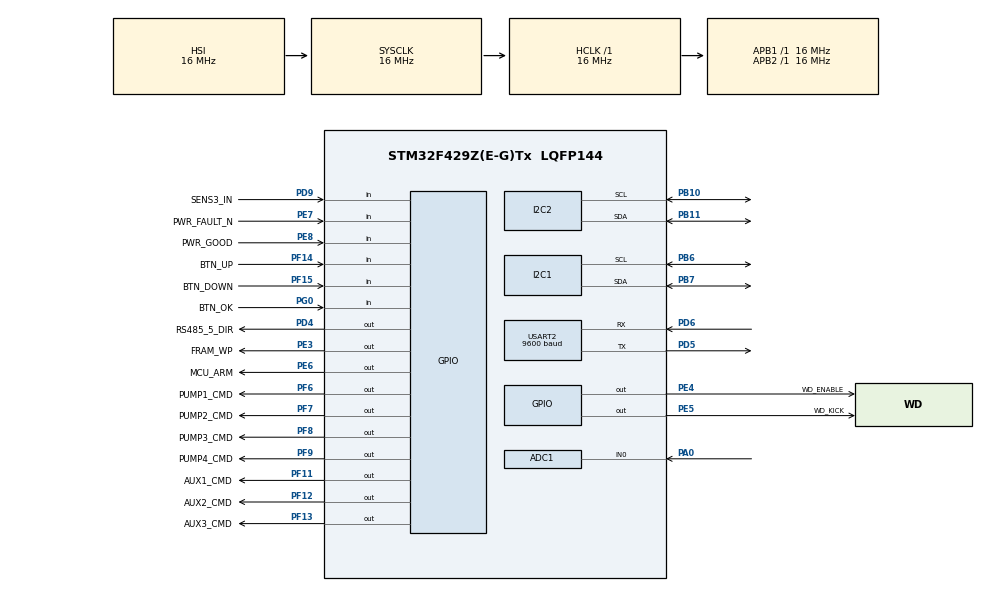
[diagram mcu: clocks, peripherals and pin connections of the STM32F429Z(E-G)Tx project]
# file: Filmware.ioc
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ADC1.Channel-1\#ChannelRegularConversion=ADC_CHANNEL_0
ADC1.ContinuousConvMode=DISABLE
ADC1.NbrOfConversion=1
ADC1.NbrOfConversionFlag=1
ADC1.Rank-1\#ChannelRegularConversion=1
ADC1.SamplingTime-1\#ChannelRegularConversion=ADC_SAMPLETIME_480CYCLES
ADC1.master=1
Mcu.Family=STM32F4
Mcu.Name=STM32F429Z(E-G)Tx
Mcu.Package=LQFP144
NVIC.PriorityGroup=NVIC_PRIORITYGROUP_4
NVIC.USART2_IRQn=true\:0\:0\:false\:false\:true\:true\:true\:true
PA0/WKUP.Signal=ADCx_IN0
PA13.Mode=Serial_Wire
PA13.Signal=SYS_JTMS-SWDIO
PA14.Mode=Serial_Wire
PA14.Signal=SYS_JTCK-SWCLK
PB10.Mode=I2C
PB10.Signal=I2C2_SCL
PB11.Mode=I2C
PB11.Signal=I2C2_SDA
PB6.Mode=I2C
PB6.Signal=I2C1_SCL
PB7.Mode=I2C
PB7.Signal=I2C1_SDA
PD4.GPIO_Label=RS485_5_DIR
PD4.Signal=GPIO_Output
PD5.Mode=Asynchronous
PD5.Signal=USART2_TX
PD6.Mode=Asynchronous
PD6.Signal=USART2_RX
PD9.GPIO_Label=SENS3_IN
PD9.Signal=GPIO_Input
PE3.GPIO_Label=FRAM_WP
PE3.PinState=GPIO_PIN_SET
PE3.Signal=GPIO_Output
PE4.GPIO_Label=WD_ENABLE
PE4.Signal=GPIO_Output
PE5.GPIO_Label=WD_KICK
PE5.Signal=GPIO_Output
PE6.GPIO_Label=MCU_ARM
PE6.Signal=GPIO_Output
PE7.GPIO_Label=PWR_FAULT_N
PE7.Signal=GPIO_Input
PE8.GPIO_Label=PWR_GOOD
PE8.Signal=GPIO_Input
PF11.GPIO_Label=AUX1_CMD
PF11.Signal=GPIO_Output
PF12.GPIO_Label=AUX2_CMD
PF12.Signal=GPIO_Output
PF13.GPIO_Label=AUX3_CMD
PF13.Signal=GPIO_Output
PF14.GPIO_Label=BTN_UP
PF14.Signal=GPIO_Input
PF15.GPIO_Label=BTN_DOWN
PF15.Signal=GPIO_Input
PF6.GPIO_Label=PUMP1_CMD
PF6.Signal=GPIO_Output
PF7.GPIO_Label=PUMP2_CMD
PF7.Signal=GPIO_Output
PF8.GPIO_Label=PUMP3_CMD
PF8.Signal=GPIO_Output
PF9.GPIO_Label=PUMP4_CMD
PF9.Signal=GPIO_Output
PG0.GPIO_Label=BTN_OK
PG0.Signal=GPIO_Input
ProjectManager.HeapSize=0x200
ProjectManager.StackSize=0x400
ProjectManager.TargetToolchain=STM32CubeIDE
RCC.AHBFreq_Value=16000000
RCC.APB1Freq_Value=16000000
RCC.APB2Freq_Value=16000000
RCC.CortexFreq_Value=16000000
RCC.HSE_VALUE=25000000
RCC.HSI_VALUE=16000000
RCC.LSE_VALUE=32768
RCC.SYSCLKFreq_VALUE=16000000
RCC.VCOOutputFreq_Value=192000000
SH.ADCx_IN0.0=ADC1_IN0,IN0
USART2.BaudRate=9600
USART2.VirtualMode=VM_ASYNC
board=custom

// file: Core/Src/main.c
/* USER CODE BEGIN Header */
/**
  ******************************************************************************
  * @file           : main.c
  * @brief          : Main program body
  ******************************************************************************
  * @attention
  *
  * Copyright (c) 2026 STMicroelectronics.
  * All rights reserved.
  *
  * This software is licensed under terms that can be found in the LICENSE file
  * in the root directory of this software component.
  * If no LICENSE file comes with this software, it is provided AS-IS.
  *
  ******************************************************************************
  */
/* USER CODE END Header */
#include "main.h"

/* USER CODE BEGIN Includes */

#include "buttons.h"
#include <stdio.h>
/* USER CODE END Includes */

/* USER CODE BEGIN PTD */

typedef enum
{
  WATERING_STOPPED = 0,
  WATERING_AUTO_ARMED,
  WATERING_AUTO_STARTING,
  WATERING_AUTO_RUNNING,
  WATERING_MANUAL_STARTING,
  WATERING_MANUAL_RUNNING,
  WATERING_AUX_STARTING,
  WATERING_AUX_RUNNING,
  WATERING_POWER_FAULT,
  WATERING_SOIL_FAULT,
  WATERING_SOIL_TIMEOUT,
  WATERING_FRAM_FAULT
} WateringRequest;
typedef struct
{
  uint16_t year;
  uint8_t month;
  uint8_t day;
  uint8_t hours;
  uint8_t minutes;
  uint8_t seconds;
} RtcDateTime;

typedef enum
{
  RTC_SET_IDLE = 0,
  RTC_SET_OK,
  RTC_SET_INVALID_DATE,
  RTC_SET_STOP_REQUIRED,
  RTC_SET_I2C_ERROR
} RtcSetStatus;
typedef enum
{
  SOIL_BUS_IDLE,
  SOIL_BUS_TX,
  SOIL_BUS_RX,
  SOIL_BUS_FRAME_READY,
  SOIL_BUS_ERROR
} SoilBusState;
/* USER CODE END PTD */

/* USER CODE BEGIN PD */

#define FRAM_I2C_ADDRESS (0x50U << 1)
#define FRAM_BOOT_ADDRESS 0x0000U
#define FRAM_BOOT_DATA_LENGTH 16U
#define FRAM_I2C_TIMEOUT_MS 50U
#define FRAM_SCHEDULE_MORNING_ADDR 0x0020U
#define FRAM_SCHEDULE_EVENING_ADDR 0x0028U
#define FRAM_SCHEDULE_RECORD_SIZE 8U
#define FRAM_SCHEDULE_MAGIC_0 0x48U
#define FRAM_SCHEDULE_MAGIC_1 0x53U
/* PCF8574T backpack: P0=RS, P1=RW, P2=E, P3=BL, P4..P7=D4..D7. */
#define LCD_I2C_ADDRESS (0x27U << 1)
#define LCD_COLUMNS 16U
#define LCD_PAGE_INTERVAL_MS 4000U
#define LCD_RETRY_INTERVAL_MS 5000U
#define LCD_RS 0x01U
#define LCD_ENABLE 0x04U
#define LCD_BACKLIGHT 0x08U
#define LCD_I2C_TIMEOUT_MS 20U
#define PUMP_COMMAND_PINS (PUMP1_CMD_Pin | PUMP2_CMD_Pin | PUMP3_CMD_Pin | PUMP4_CMD_Pin)
#define POWER_READY_TIMEOUT_MS 500U
#define WATCHDOG_TOGGLE_INTERVAL_MS 100U
/* Daily automatic watering schedule. */
#define AUTO_MORNING_HOUR 7U
#define AUTO_MORNING_MINUTE 0U
#define AUTO_EVENING_HOUR 19U
#define AUTO_EVENING_MINUTE 0U
#define SOIL_DEVICE_ADDRESS 1U
#define SOIL_MOISTURE_REGISTER 0x0002U
#define SOIL_POLL_MS 1000U
#define SOIL_REQUEST_TIMEOUT_MS 200U
#define SOIL_MAX_SAMPLE_AGE_MS (SOIL_POLL_MS + SOIL_REQUEST_TIMEOUT_MS)
#define SOIL_TARGET_TENTHS 550U
#define SOIL_TARGET_SAMPLES 3U
#define SOIL_DAYTIME_DRY_TENTHS 350U
#define SOIL_DAYTIME_DRY_SAMPLES 5U
#define CLIMATE_SAMPLE_MS 100U
#define CLIMATE_TRIGGER_SAMPLES 50U
/* Enable only after fitting the divider for the Ropam 0–10 V output. */
#define AIR_RH_ENABLED 0U
#define AIR_RH_ADC_AT_10V 3002U
#define AIR_RH_ADC_MARGIN 150U
#define AIR_RH_LOW_PERCENT 40U
#define DAYTIME_WATERING_COOLDOWN_MS (30UL * 60UL * 1000UL)
#define AUTO_MAX_RUN_MS 60000U
#define DS3231_I2C_ADDRESS (0x68U << 1)
#define DS3231_CLOCK_REGISTER 0x00U
#define DS3231_STATUS_REGISTER 0x0FU
#define DS3231_STATUS_OSF 0x80U
#define DS3231_STATUS_EN32KHZ 0x08U
#define DS3231_STATUS_ALARM_FLAGS 0x03U
#define DS3231_I2C_TIMEOUT_MS 50U
#define AUX_COMMAND_PINS (AUX1_CMD_Pin | AUX2_CMD_Pin | AUX3_CMD_Pin)
#define AUX_DEMO_PHASE_MS 5000U
/* USER CODE END PD */

ADC_HandleTypeDef hadc1;

I2C_HandleTypeDef hi2c1;
I2C_HandleTypeDef hi2c2;

UART_HandleTypeDef huart2;

/* USER CODE BEGIN PV */
static volatile HAL_StatusTypeDef rtc_probe_status = HAL_ERROR;
static volatile HAL_StatusTypeDef fram_probe_status = HAL_ERROR;
static uint32_t rtc_last_poll_ms;
static volatile HAL_StatusTypeDef rtc_read_status = HAL_ERROR;
static volatile uint8_t rtc_hours;
static volatile uint8_t rtc_minutes;
static volatile uint8_t rtc_seconds;
static volatile uint16_t rtc_year;
static volatile uint8_t rtc_month;
static volatile uint8_t rtc_day;
static volatile uint8_t rtc_time_valid;
static volatile HAL_StatusTypeDef fram_boot_read_status = HAL_ERROR;
static volatile uint8_t fram_boot_data[FRAM_BOOT_DATA_LENGTH];
static volatile uint8_t last_button_press;
extern I2C_HandleTypeDef hi2c2;
static volatile HAL_StatusTypeDef lcd_status = HAL_ERROR;
static uint32_t lcd_page_changed_ms;
static uint32_t lcd_last_init_ms;
static uint8_t lcd_sensor_page;
static volatile WateringRequest watering_request = WATERING_STOPPED;
static uint32_t watering_start_ms;
static uint32_t watchdog_toggle_ms;
static uint32_t auto_running_since_ms;
static uint32_t auto_last_morning_date;
static uint32_t auto_last_evening_date;
static uint8_t fram_schedule_loaded;
static volatile HAL_StatusTypeDef fram_schedule_status = HAL_ERROR;
extern ADC_HandleTypeDef hadc1;
extern UART_HandleTypeDef huart2;
static uint32_t soil_last_request_ms;
static uint32_t soil_last_valid_ms;
static volatile SoilBusState soil_bus_state;
static uint8_t soil_request[8];
static uint8_t soil_response[7];
static volatile uint16_t soil_moisture_tenths;
static uint32_t climate_last_sample_ms;
static uint8_t temperature_hot_samples;
static volatile uint8_t temperature_hot;
static uint8_t air_rh_low_samples;
static volatile uint16_t air_rh_adc_raw;
static volatile uint8_t air_rh_percent;
static volatile uint8_t air_rh_valid;
static volatile uint8_t soil_valid;
static uint8_t soil_target_samples;
static uint8_t soil_dry_samples;
static uint32_t last_watering_stop_ms;
static uint8_t daytime_cooldown_active;
/* Fill the value in the debugger, then set the request to 1. */
static volatile RtcDateTime rtc_set_value;
static volatile uint8_t rtc_set_request;
static volatile RtcSetStatus rtc_set_status = RTC_SET_IDLE;
static uint8_t rtc_write_incomplete;
/* Set to 1 in the debugger while stopped to start the AUX showcase. */
static volatile uint8_t aux_demo_request;
static volatile uint8_t aux_demo_on;
static uint32_t aux_demo_phase_ms;
/* USER CODE END PV */

void SystemClock_Config(void);
static void MX_GPIO_Init(void);
static void MX_I2C1_Init(void);
static void MX_I2C2_Init(void);
static void MX_ADC1_Init(void);
static void MX_USART2_UART_Init(void);

/* USER CODE BEGIN 0 */
static uint8_t Rtc_DecodeBcd(uint8_t value, uint8_t min, uint8_t max,
                             uint8_t *decoded)
{
  const uint8_t tens = value >> 4;
  const uint8_t units = value & 0x0FU;
  const uint8_t number = (uint8_t)(tens * 10U + units);

  if (tens > 9U || units > 9U || number < min || number > max)
  {
    return 0U;
  }

  *decoded = number;
  return 1U;
}

static uint8_t Rtc_DaysInMonth(uint16_t year, uint8_t month)
{
  static const uint8_t days[] = {31U, 28U, 31U, 30U, 31U, 30U,
                                 31U, 31U, 30U, 31U, 30U, 31U};
  if (month == 2U && year % 4U == 0U &&
      (year % 100U != 0U || year % 400U == 0U))
  {
    return 29U;
  }

  return days[month - 1U];
}

static void Rtc_ReadTime(void)
{
  uint8_t registers[16];
  rtc_time_valid = 0U;

  /* Read a snapshot of time, date and the oscillator-stop flag. */
  rtc_read_status = HAL_I2C_Mem_Read(
      &hi2c1, DS3231_I2C_ADDRESS, DS3231_CLOCK_REGISTER, I2C_MEMADD_SIZE_8BIT,
      registers, sizeof(registers), DS3231_I2C_TIMEOUT_MS);

  if (rtc_read_status != HAL_OK ||
      (registers[DS3231_STATUS_REGISTER] & DS3231_STATUS_OSF) != 0U ||
      rtc_write_incomplete != 0U)
  {
    return;
  }

  uint8_t seconds, minutes, hours, day, month, year_in_century;
  if (!Rtc_DecodeBcd(registers[0] & 0x7FU, 0U, 59U, &seconds) ||
      !Rtc_DecodeBcd(registers[1] & 0x7FU, 0U, 59U, &minutes) ||
      !Rtc_DecodeBcd(registers[4] & 0x3FU, 1U, 31U, &day) ||
      !Rtc_DecodeBcd(registers[5] & 0x1FU, 1U, 12U, &month) ||
      !Rtc_DecodeBcd(registers[6], 0U, 99U, &year_in_century))
  {
    return;
  }

  const uint8_t hours_register = registers[2];
  if ((hours_register & 0x40U) != 0U)
  {
    uint8_t hours_12;
    if (!Rtc_DecodeBcd(hours_register & 0x1FU, 1U, 12U, &hours_12))
    {
      return;
    }
    const uint8_t pm_offset = (hours_register & 0x20U) != 0U ? 12U : 0U;
    hours = (uint8_t)((hours_12 % 12U) + pm_offset);
  }
  else if (!Rtc_DecodeBcd(hours_register & 0x3FU, 0U, 23U, &hours))
  {
    return;
  }

  const uint16_t base_year = (registers[5] & 0x80U) != 0U ? 2100U : 2000U;
  const uint16_t year = base_year + year_in_century;
  if (day > Rtc_DaysInMonth(year, month))
  {
    return;
  }

  rtc_year = year;
  rtc_month = month;
  rtc_day = day;
  rtc_hours = hours;
  rtc_minutes = minutes;
  rtc_seconds = seconds;
  rtc_time_valid = 1U;
}

static uint8_t Rtc_ToBcd(uint8_t value)
{
  return (uint8_t)(((value / 10U) << 4) | (value % 10U));
}

static uint8_t Rtc_DayOfWeek(uint16_t year, uint8_t month, uint8_t day)
{
  static const uint8_t offsets[] = {0U, 3U, 2U, 5U, 0U, 3U,
                                    5U, 1U, 4U, 6U, 2U, 4U};
  const uint32_t adjusted_year = month < 3U ? year - 1U : year;
  const uint8_t weekday = (uint8_t)((adjusted_year + adjusted_year / 4U -
      adjusted_year / 100U + adjusted_year / 400U + offsets[month - 1U] + day) % 7U);
  return weekday == 0U ? 7U : weekday;
}

static void Rtc_ServiceSetRequest(void)
{
  if (rtc_set_request == 0U)
  {
    return;
  }

  const RtcDateTime value = rtc_set_value;
  rtc_set_request = 0U;

  if (watering_request != WATERING_STOPPED)
  {
    rtc_set_status = RTC_SET_STOP_REQUIRED;
    return;
  }

  if (value.year < 2000U || value.year > 2099U || value.month < 1U ||
      value.month > 12U || value.day < 1U ||
      value.day > Rtc_DaysInMonth(value.year, value.month) ||
      value.hours > 23U || value.minutes > 59U || value.seconds > 59U)
  {
    rtc_set_status = RTC_SET_INVALID_DATE;
    return;
  }

  uint8_t clock_registers[] = {
    Rtc_ToBcd(value.seconds),
    Rtc_ToBcd(value.minutes),
    Rtc_ToBcd(value.hours),
    Rtc_DayOfWeek(value.year, value.month, value.day),
    Rtc_ToBcd(value.day),
    Rtc_ToBcd(value.month),
    Rtc_ToBcd((uint8_t)(value.year - 2000U))
  };

  rtc_time_valid = 0U;
  rtc_write_incomplete = 1U;
  rtc_set_status = RTC_SET_I2C_ERROR;
  if (HAL_I2C_Mem_Write(&hi2c1, DS3231_I2C_ADDRESS, DS3231_CLOCK_REGISTER,
                        I2C_MEMADD_SIZE_8BIT, clock_registers,
                        sizeof(clock_registers), DS3231_I2C_TIMEOUT_MS) != HAL_OK)
  {
    return;
  }

  uint8_t status_register;
  if (HAL_I2C_Mem_Read(&hi2c1, DS3231_I2C_ADDRESS, DS3231_STATUS_REGISTER,
                       I2C_MEMADD_SIZE_8BIT, &status_register, 1U,
                       DS3231_I2C_TIMEOUT_MS) != HAL_OK)
  {
    return;
  }

  /* Clear OSF, preserve EN32kHz and leave both write-zero alarm flags alone. */
  status_register = (status_register & DS3231_STATUS_EN32KHZ) |
                    DS3231_STATUS_ALARM_FLAGS;
  if (HAL_I2C_Mem_Write(&hi2c1, DS3231_I2C_ADDRESS, DS3231_STATUS_REGISTER,
                        I2C_MEMADD_SIZE_8BIT, &status_register, 1U,
                        DS3231_I2C_TIMEOUT_MS) == HAL_OK)
  {
    rtc_write_incomplete = 0U;
    Rtc_ReadTime();
    if (rtc_time_valid != 0U)
    {
      rtc_set_status = RTC_SET_OK;
    }
    else
    {
      rtc_write_incomplete = 1U;
    }
  }
}

static void Fram_ReadBootData(void)
{
  uint8_t data[FRAM_BOOT_DATA_LENGTH];
  const HAL_StatusTypeDef status = HAL_I2C_Mem_Read(
      &hi2c1, FRAM_I2C_ADDRESS, FRAM_BOOT_ADDRESS, I2C_MEMADD_SIZE_16BIT,
      data, sizeof(data), FRAM_I2C_TIMEOUT_MS);

  if (status == HAL_OK)
  {
    for (uint32_t i = 0; i < sizeof(data); ++i)
    {
      fram_boot_data[i] = data[i];
    }
  }

  fram_boot_read_status = status;
}

static void Lcd_EncodeNibble(uint8_t *output, uint8_t nibble, uint8_t flags)
{
  const uint8_t data = (uint8_t)((nibble & 0x0FU) << 4) | LCD_BACKLIGHT | flags;
  output[0] = data;
  output[1] = data | LCD_ENABLE;
  output[2] = data;
}

static HAL_StatusTypeDef Lcd_WriteNibble(uint8_t nibble)
{
  uint8_t packet[3];
  Lcd_EncodeNibble(packet, nibble, 0U);
  return HAL_I2C_Master_Transmit(&hi2c2, LCD_I2C_ADDRESS,
                                 packet, sizeof(packet), LCD_I2C_TIMEOUT_MS);
}

static HAL_StatusTypeDef Lcd_WriteByte(uint8_t value, uint8_t flags)
{
  uint8_t packet[6];
  Lcd_EncodeNibble(&packet[0], value >> 4, flags);
  Lcd_EncodeNibble(&packet[3], value, flags);
  return HAL_I2C_Master_Transmit(&hi2c2, LCD_I2C_ADDRESS,
                                 packet, sizeof(packet), LCD_I2C_TIMEOUT_MS);
}

static HAL_StatusTypeDef Lcd_WriteLine(uint8_t row, const char *text)
{
  HAL_StatusTypeDef status = Lcd_WriteByte(row == 0U ? 0x80U : 0xC0U, 0U);
  for (uint8_t column = 0; column < LCD_COLUMNS && status == HAL_OK; ++column)
  {
    const uint8_t character = *text != '\0' ? (uint8_t)*text++ : (uint8_t)' ';
    status = Lcd_WriteByte(character, LCD_RS);
  }
  return status;
}

static HAL_StatusTypeDef Lcd_Init(void)
{
  static const uint8_t reset_nibbles[] = {0x03U, 0x03U, 0x03U, 0x02U};
  static const uint8_t commands[] = {0x28U, 0x08U, 0x01U, 0x06U, 0x0CU};

  HAL_Delay(50U);
  HAL_StatusTypeDef status = HAL_I2C_IsDeviceReady(&hi2c2, LCD_I2C_ADDRESS,
                                                     2U, LCD_I2C_TIMEOUT_MS);
  for (uint8_t i = 0; i < sizeof(reset_nibbles) && status == HAL_OK; ++i)
  {
    status = Lcd_WriteNibble(reset_nibbles[i]);
    HAL_Delay(i == 0U ? 5U : 1U);
  }

  for (uint8_t i = 0; i < sizeof(commands) && status == HAL_OK; ++i)
  {
    status = Lcd_WriteByte(commands[i], 0U);
    if (commands[i] == 0x01U)
    {
      HAL_Delay(2U);
    }
  }
  return status;
}

static void Lcd_ShowTime(void)
{
  if (lcd_status != HAL_OK)
  {
    return;
  }

  if (rtc_read_status != HAL_OK)
  {
    lcd_status = Lcd_WriteLine(1U, "RTC offline");
  }
  else if (rtc_time_valid == 0U)
  {
    lcd_status = Lcd_WriteLine(1U, "RTC invalid");
  }
  else
  {
    /* Five uint8_t values can take up to three digits each.
       Reserve space for four separators and the null terminator. */
    char line[20];
    snprintf(line, sizeof(line), "%02u/%02u %02u:%02u:%02u",
             (unsigned)rtc_day, (unsigned)rtc_month, (unsigned)rtc_hours,
             (unsigned)rtc_minutes, (unsigned)rtc_seconds);
    lcd_status = Lcd_WriteLine(1U, line);
  }
}

static void Lcd_FormatSensorPercent(char field[5], uint8_t valid,
                                    uint16_t percent)
{
  if (!valid || percent > 100U)
  {
    field[0] = '-';
    field[1] = '-';
    field[2] = '-';
    field[3] = ' ';
  }
  else
  {
    field[0] = percent >= 100U ? '1' : ' ';
    field[1] = percent >= 10U ? (char)('0' + (percent / 10U) % 10U) : ' ';
    field[2] = (char)('0' + percent % 10U);
    field[3] = '%';
  }
  field[4] = '\0';
}

static void Lcd_ShowDashboard(uint32_t now)
{
  if (lcd_status != HAL_OK)
  {
    return;
  }
  if ((now - lcd_page_changed_ms) >= LCD_PAGE_INTERVAL_MS)
  {
    lcd_page_changed_ms = now;
    lcd_sensor_page ^= 1U;
  }
  if (!lcd_sensor_page)
  {
    Lcd_ShowTime();
    return;
  }

  char soil[5];
  char air[5];
  char line[24];
  Lcd_FormatSensorPercent(soil, soil_valid, soil_moisture_tenths / 10U);
  Lcd_FormatSensorPercent(air, air_rh_valid, air_rh_percent);
  snprintf(line, sizeof(line), "S%s H%s %s", soil, air,
           temperature_hot ? "HOT" : " - ");
  lcd_status = Lcd_WriteLine(1U, line);
}

static uint16_t Modbus_Crc(const uint8_t *data, uint8_t length)
{
  uint16_t crc = 0xFFFFU;
  for (uint8_t i = 0; i < length; ++i)
  {
    crc ^= data[i];
    for (uint8_t bit = 0; bit < 8U; ++bit)
    {
      const uint16_t polynomial = (crc & 1U) != 0U ? 0xA001U : 0U;
      crc = (uint16_t)((crc >> 1) ^ polynomial);
    }
  }
  return crc;
}

static uint32_t Fram_DecodeScheduleDate(const uint8_t *record)
{
  const uint16_t stored_crc = (uint16_t)record[6] | ((uint16_t)record[7] << 8);
  if (record[0] != FRAM_SCHEDULE_MAGIC_0 || record[1] != FRAM_SCHEDULE_MAGIC_1 ||
      Modbus_Crc(record, 6U) != stored_crc)
  {
    return 0U;
  }

  const uint32_t date = ((uint32_t)record[2] << 24) |
                        ((uint32_t)record[3] << 16) |
                        ((uint32_t)record[4] << 8) | record[5];
  return (date >= 20000101U && date <= 21991231U) ? date : 0U;
}

static uint8_t Fram_LoadScheduleHistory(void)
{
  uint8_t records[2U * FRAM_SCHEDULE_RECORD_SIZE];
  fram_schedule_status = HAL_I2C_Mem_Read(
      &hi2c1, FRAM_I2C_ADDRESS, FRAM_SCHEDULE_MORNING_ADDR, I2C_MEMADD_SIZE_16BIT,
      records, sizeof(records), FRAM_I2C_TIMEOUT_MS);
  if (fram_schedule_status != HAL_OK)
  {
    return 0U;
  }

  auto_last_morning_date = Fram_DecodeScheduleDate(records);
  auto_last_evening_date = Fram_DecodeScheduleDate(&records[FRAM_SCHEDULE_RECORD_SIZE]);
  fram_schedule_loaded = 1U;
  return 1U;
}

static uint8_t Fram_SaveScheduleDate(uint16_t address, uint32_t date)
{
  uint8_t record[FRAM_SCHEDULE_RECORD_SIZE] = {
    FRAM_SCHEDULE_MAGIC_0, FRAM_SCHEDULE_MAGIC_1,
    (uint8_t)(date >> 24), (uint8_t)(date >> 16), (uint8_t)(date >> 8), (uint8_t)date
  };
  const uint16_t crc = Modbus_Crc(record, 6U);
  record[6] = (uint8_t)crc;
  record[7] = (uint8_t)(crc >> 8);

  HAL_GPIO_WritePin(FRAM_WP_GPIO_Port, FRAM_WP_Pin, GPIO_PIN_RESET);
  fram_schedule_status = HAL_I2C_Mem_Write(
      &hi2c1, FRAM_I2C_ADDRESS, address, I2C_MEMADD_SIZE_16BIT,
      record, sizeof(record), FRAM_I2C_TIMEOUT_MS);
  HAL_GPIO_WritePin(FRAM_WP_GPIO_Port, FRAM_WP_Pin, GPIO_PIN_SET);
  if (fram_schedule_status != HAL_OK)
  {
    return 0U;
  }

  fram_schedule_status = HAL_I2C_Mem_Read(
      &hi2c1, FRAM_I2C_ADDRESS, address, I2C_MEMADD_SIZE_16BIT,
      record, sizeof(record), FRAM_I2C_TIMEOUT_MS);
  if (fram_schedule_status == HAL_OK && Fram_DecodeScheduleDate(record) != date)
  {
    fram_schedule_status = HAL_ERROR;
  }
  return fram_schedule_status == HAL_OK;
}

static void Soil_Invalidate(void)
{
  soil_valid = 0U;
  soil_target_samples = 0U;
  soil_dry_samples = 0U;
}

static void Soil_AcceptResponse(uint32_t now)
{
  const uint16_t crc = (uint16_t)soil_response[5] |
                       ((uint16_t)soil_response[6] << 8);
  const uint16_t moisture = ((uint16_t)soil_response[3] << 8) | soil_response[4];

  if (soil_response[0] != SOIL_DEVICE_ADDRESS || soil_response[1] != 0x03U ||
      soil_response[2] != 2U || Modbus_Crc(soil_response, 5U) != crc ||
      moisture > 1000U)
  {
    Soil_Invalidate();
    return;
  }

  soil_moisture_tenths = moisture;
  soil_last_valid_ms = now;
  soil_valid = 1U;
  if (moisture < SOIL_TARGET_TENTHS)
  {
    soil_target_samples = 0U;
  }
  else if (soil_target_samples < SOIL_TARGET_SAMPLES)
  {
    ++soil_target_samples;
  }

  if (moisture > SOIL_DAYTIME_DRY_TENTHS)
  {
    soil_dry_samples = 0U;
  }
  else if (soil_dry_samples < SOIL_DAYTIME_DRY_SAMPLES)
  {
    ++soil_dry_samples;
  }
}

static void Soil_Update(uint32_t now)
{
  const SoilBusState state = soil_bus_state;
  if (state == SOIL_BUS_FRAME_READY)
  {
    if ((now - soil_last_request_ms) < SOIL_REQUEST_TIMEOUT_MS)
    {
      Soil_AcceptResponse(now);
    }
    else
    {
      Soil_Invalidate();
    }
    soil_bus_state = SOIL_BUS_IDLE;
  }
  else if (state == SOIL_BUS_ERROR ||
           (state != SOIL_BUS_IDLE &&
            (now - soil_last_request_ms) >= SOIL_REQUEST_TIMEOUT_MS))
  {
    soil_bus_state = SOIL_BUS_IDLE;
    HAL_GPIO_WritePin(RS485_5_DIR_GPIO_Port, RS485_5_DIR_Pin, GPIO_PIN_RESET);
    HAL_UART_Abort(&huart2);
    Soil_Invalidate();
  }

  if (soil_valid && (now - soil_last_valid_ms) >= SOIL_MAX_SAMPLE_AGE_MS)
  {
    Soil_Invalidate();
  }

  if (soil_bus_state != SOIL_BUS_IDLE || (now - soil_last_request_ms) < SOIL_POLL_MS)
  {
    return;
  }

  soil_request[0] = SOIL_DEVICE_ADDRESS;
  soil_request[1] = 0x03U;
  soil_request[2] = (uint8_t)(SOIL_MOISTURE_REGISTER >> 8);
  soil_request[3] = (uint8_t)SOIL_MOISTURE_REGISTER;
  soil_request[4] = 0U;
  soil_request[5] = 1U;
  const uint16_t crc = Modbus_Crc(soil_request, 6U);
  soil_request[6] = (uint8_t)crc;
  soil_request[7] = (uint8_t)(crc >> 8);

  soil_last_request_ms = now;
  soil_bus_state = SOIL_BUS_TX;
  HAL_GPIO_WritePin(RS485_5_DIR_GPIO_Port, RS485_5_DIR_Pin, GPIO_PIN_SET);
  if (HAL_UART_Transmit_IT(&huart2, soil_request, sizeof(soil_request)) != HAL_OK)
  {
    HAL_GPIO_WritePin(RS485_5_DIR_GPIO_Port, RS485_5_DIR_Pin, GPIO_PIN_RESET);
    soil_bus_state = SOIL_BUS_ERROR;
  }
}

void HAL_UART_TxCpltCallback(UART_HandleTypeDef *uart)
{
  if (uart != &huart2 || soil_bus_state != SOIL_BUS_TX)
  {
    return;
  }

  HAL_GPIO_WritePin(RS485_5_DIR_GPIO_Port, RS485_5_DIR_Pin, GPIO_PIN_RESET);
  soil_bus_state = SOIL_BUS_RX;
  if (HAL_UART_Receive_IT(uart, soil_response, sizeof(soil_response)) != HAL_OK)
  {
    soil_bus_state = SOIL_BUS_ERROR;
  }
}

void HAL_UART_RxCpltCallback(UART_HandleTypeDef *uart)
{
  if (uart == &huart2 && soil_bus_state == SOIL_BUS_RX)
  {
    soil_bus_state = SOIL_BUS_FRAME_READY;
  }
}

void HAL_UART_ErrorCallback(UART_HandleTypeDef *uart)
{
  if (uart == &huart2 && soil_bus_state != SOIL_BUS_IDLE)
  {
    HAL_GPIO_WritePin(RS485_5_DIR_GPIO_Port, RS485_5_DIR_Pin, GPIO_PIN_RESET);
    soil_bus_state = SOIL_BUS_ERROR;
  }
}

static void Climate_Update(uint32_t now)
{
  if ((now - climate_last_sample_ms) < CLIMATE_SAMPLE_MS)
  {
    return;
  }
  climate_last_sample_ms = now;

  /* The KSD9700 NO contact pulls the externally biased input low. */
  if (HAL_GPIO_ReadPin(SENS3_IN_GPIO_Port, SENS3_IN_Pin) != GPIO_PIN_RESET)
  {
    temperature_hot_samples = 0U;
  }
  else if (temperature_hot_samples < CLIMATE_TRIGGER_SAMPLES)
  {
    ++temperature_hot_samples;
  }
  temperature_hot = temperature_hot_samples >= CLIMATE_TRIGGER_SAMPLES;

  if (AIR_RH_ENABLED == 0U)
  {
    return;
  }

  air_rh_valid = 0U;
  if (HAL_ADC_Start(&hadc1) == HAL_OK)
  {
    if (HAL_ADC_PollForConversion(&hadc1, 1U) == HAL_OK)
    {
      air_rh_adc_raw = (uint16_t)HAL_ADC_GetValue(&hadc1);
      if (air_rh_adc_raw > 0U && air_rh_adc_raw <= AIR_RH_ADC_AT_10V + AIR_RH_ADC_MARGIN)
      {
        const uint32_t percent =
            ((uint32_t)air_rh_adc_raw * 100U + AIR_RH_ADC_AT_10V / 2U) /
            AIR_RH_ADC_AT_10V;
        air_rh_percent = (uint8_t)(percent > 100U ? 100U : percent);
        air_rh_valid = 1U;
      }
    }
    if (HAL_ADC_Stop(&hadc1) != HAL_OK)
    {
      air_rh_valid = 0U;
    }
  }

  if (!air_rh_valid || air_rh_percent > AIR_RH_LOW_PERCENT)
  {
    air_rh_low_samples = 0U;
  }
  else if (air_rh_low_samples < CLIMATE_TRIGGER_SAMPLES)
  {
    ++air_rh_low_samples;
  }
}

static void Lcd_ShowWateringRequest(void)
{
  if (lcd_status != HAL_OK)
  {
    return;
  }

  switch (watering_request)
  {
    case WATERING_AUTO_ARMED:
      lcd_status = Lcd_WriteLine(0U, "AUTO: waiting");
      break;
    case WATERING_AUTO_STARTING:
    case WATERING_AUTO_RUNNING:
      lcd_status = Lcd_WriteLine(0U, "AUTO: watering");
      break;
    case WATERING_MANUAL_STARTING:
    case WATERING_MANUAL_RUNNING:
      lcd_status = Lcd_WriteLine(0U, "MANUAL: hold");
      break;
    case WATERING_AUX_STARTING:
    case WATERING_AUX_RUNNING:
      lcd_status = Lcd_WriteLine(0U, "AUX demo 5s/5s");
      break;
    case WATERING_POWER_FAULT:
      lcd_status = Lcd_WriteLine(0U, "PUMP POWER FAULT");
      break;
    case WATERING_SOIL_FAULT:
      lcd_status = Lcd_WriteLine(0U, "SOIL RS485 FAULT");
      break;
    case WATERING_SOIL_TIMEOUT:
      lcd_status = Lcd_WriteLine(0U, "SOIL TIMEOUT");
      break;
    case WATERING_FRAM_FAULT:
      lcd_status = Lcd_WriteLine(0U, "FRAM SAVE FAULT");
      break;
    default:
      lcd_status = Lcd_WriteLine(0U, "Helios: STOPPED");
      break;
  }
}

static void Lcd_ServiceDashboard(uint32_t now)
{
  if (lcd_status != HAL_OK &&
      (now - lcd_last_init_ms) >= LCD_RETRY_INTERVAL_MS)
  {
    lcd_last_init_ms = now;
    lcd_status = Lcd_Init();
    if (lcd_status == HAL_OK)
    {
      lcd_sensor_page = 0U;
      lcd_page_changed_ms = now;
      Lcd_ShowWateringRequest();
    }
  }
  Lcd_ShowDashboard(now);
}

static uint8_t Watering_IsManual(void)
{
  return watering_request == WATERING_MANUAL_STARTING ||
         watering_request == WATERING_MANUAL_RUNNING;
}

static uint8_t Watering_IsAuxDemo(void)
{
  return watering_request == WATERING_AUX_STARTING ||
         watering_request == WATERING_AUX_RUNNING;
}

static uint8_t Watering_IsActive(void)
{
  return Watering_IsManual() || Watering_IsAuxDemo() ||
         watering_request == WATERING_AUTO_STARTING ||
         watering_request == WATERING_AUTO_RUNNING;
}

static uint8_t Watering_StopHeld(void)
{
  return HAL_GPIO_ReadPin(BTN_DOWN_GPIO_Port, BTN_DOWN_Pin) == GPIO_PIN_RESET;
}

static uint8_t Watering_ManualHeld(void)
{
  return HAL_GPIO_ReadPin(BTN_OK_GPIO_Port, BTN_OK_Pin) == GPIO_PIN_RESET;
}

static void Watering_Stop(WateringRequest next_state)
{
  HAL_GPIO_WritePin(MCU_ARM_GPIO_Port, MCU_ARM_Pin, GPIO_PIN_RESET);
  HAL_GPIO_WritePin(GPIOF, PUMP_COMMAND_PINS | AUX_COMMAND_PINS, GPIO_PIN_RESET);
  aux_demo_on = 0U;
  HAL_GPIO_WritePin(WD_ENABLE_GPIO_Port, WD_ENABLE_Pin, GPIO_PIN_RESET);
  HAL_GPIO_WritePin(WD_KICK_GPIO_Port, WD_KICK_Pin, GPIO_PIN_RESET);

  if (watering_request == WATERING_MANUAL_RUNNING ||
      watering_request == WATERING_AUTO_RUNNING)
  {
    last_watering_stop_ms = HAL_GetTick();
    daytime_cooldown_active = 1U;
    soil_dry_samples = 0U;
  }

  watering_request = next_state;
  Lcd_ShowWateringRequest();
}

static uint8_t Watering_StartPower(WateringRequest starting_state)
{
  watering_request = starting_state;
  /* Finish the blocking LCD write before enabling pump power. */
  Lcd_ShowWateringRequest();

  if (Watering_StopHeld() || (Watering_IsManual() && !Watering_ManualHeld()))
  {
    Watering_Stop(WATERING_STOPPED);
    return 0U;
  }

  HAL_GPIO_WritePin(WD_KICK_GPIO_Port, WD_KICK_Pin, GPIO_PIN_SET);
  HAL_GPIO_WritePin(WD_ENABLE_GPIO_Port, WD_ENABLE_Pin, GPIO_PIN_SET);
  watering_start_ms = HAL_GetTick();
  watchdog_toggle_ms = watering_start_ms;
  HAL_GPIO_WritePin(MCU_ARM_GPIO_Port, MCU_ARM_Pin, GPIO_PIN_SET);
  return 1U;
}

static void Watering_Service(uint8_t pressed, uint32_t now)
{
  const uint8_t start_aux_demo = aux_demo_request;
  if (start_aux_demo != 0U)
  {
    aux_demo_request = 0U;
  }

  if (Watering_StopHeld() || (pressed & BUTTON_DOWN) != 0U)
  {
    if (watering_request != WATERING_STOPPED)
    {
      Watering_Stop(WATERING_STOPPED);
    }
    return;
  }

  if (Watering_IsActive())
  {
    const uint8_t manual = Watering_IsManual();
    const uint8_t aux_demo = Watering_IsAuxDemo();
    if (manual && !Watering_ManualHeld())
    {
      Watering_Stop(WATERING_STOPPED);
      return;
    }

    if (!manual && !aux_demo)
    {
      if (!soil_valid)
      {
        Watering_Stop(WATERING_SOIL_FAULT);
        return;
      }
      if (soil_target_samples >= SOIL_TARGET_SAMPLES)
      {
        Watering_Stop(WATERING_AUTO_ARMED);
        return;
      }
      if (watering_request == WATERING_AUTO_RUNNING &&
          (now - auto_running_since_ms) >= AUTO_MAX_RUN_MS)
      {
        Watering_Stop(WATERING_SOIL_TIMEOUT);
        return;
      }
    }

    const uint8_t power_ok =
        HAL_GPIO_ReadPin(PWR_GOOD_GPIO_Port, PWR_GOOD_Pin) == GPIO_PIN_SET &&
        HAL_GPIO_ReadPin(PWR_FAULT_N_GPIO_Port, PWR_FAULT_N_Pin) == GPIO_PIN_SET;
    if (watering_request == WATERING_MANUAL_STARTING ||
        watering_request == WATERING_AUTO_STARTING ||
        watering_request == WATERING_AUX_STARTING)
    {
      if ((now - watering_start_ms) >= POWER_READY_TIMEOUT_MS)
      {
        Watering_Stop(WATERING_POWER_FAULT);
        return;
      }
      if (power_ok)
      {
        if (aux_demo)
        {
          HAL_GPIO_WritePin(GPIOF, AUX_COMMAND_PINS, GPIO_PIN_SET);
          aux_demo_on = 1U;
          aux_demo_phase_ms = now;
          watering_request = WATERING_AUX_RUNNING;
        }
        else
        {
          HAL_GPIO_WritePin(GPIOF, PUMP_COMMAND_PINS, GPIO_PIN_SET);
          if (manual)
          {
            watering_request = WATERING_MANUAL_RUNNING;
          }
          else
          {
            auto_running_since_ms = now;
            watering_request = WATERING_AUTO_RUNNING;
          }
        }
      }
    }
    else if (!power_ok)
    {
      Watering_Stop(WATERING_POWER_FAULT);
      return;
    }

    if (watering_request == WATERING_AUX_RUNNING &&
        (now - aux_demo_phase_ms) >= AUX_DEMO_PHASE_MS)
    {
      aux_demo_phase_ms = now;
      aux_demo_on = (uint8_t)(aux_demo_on == 0U);
      HAL_GPIO_WritePin(GPIOF, AUX_COMMAND_PINS,
                        aux_demo_on ? GPIO_PIN_SET : GPIO_PIN_RESET);
    }

    if ((now - watchdog_toggle_ms) >= WATCHDOG_TOGGLE_INTERVAL_MS)
    {
      watchdog_toggle_ms = now;
      HAL_GPIO_TogglePin(WD_KICK_GPIO_Port, WD_KICK_Pin);
    }
    return;
  }

  if ((pressed & BUTTON_OK) != 0U && Watering_ManualHeld())
  {
    Watering_StartPower(WATERING_MANUAL_STARTING);
  }
  else if ((pressed & BUTTON_UP) != 0U && watering_request != WATERING_AUTO_ARMED)
  {
    watering_request = WATERING_AUTO_ARMED;
    Lcd_ShowWateringRequest();
  }
  else if (start_aux_demo == 1U && watering_request == WATERING_STOPPED)
  {
    Watering_StartPower(WATERING_AUX_STARTING);
  }
}

static void Watering_CheckSchedule(void)
{
  if (watering_request != WATERING_AUTO_ARMED || !rtc_time_valid || !soil_valid)
  {
    return;
  }

  uint32_t *last_started_date;
  uint16_t address;
  if (rtc_hours == AUTO_MORNING_HOUR && rtc_minutes == AUTO_MORNING_MINUTE)
  {
    last_started_date = &auto_last_morning_date;
    address = FRAM_SCHEDULE_MORNING_ADDR;
  }
  else if (rtc_hours == AUTO_EVENING_HOUR && rtc_minutes == AUTO_EVENING_MINUTE)
  {
    last_started_date = &auto_last_evening_date;
    address = FRAM_SCHEDULE_EVENING_ADDR;
  }
  else
  {
    return;
  }

  const uint32_t date = (uint32_t)rtc_year * 10000U +
                        (uint32_t)rtc_month * 100U + rtc_day;
  if (date <= *last_started_date)
  {
    return;
  }

  if (soil_moisture_tenths >= SOIL_TARGET_TENTHS)
  {
    *last_started_date = date;
    return;
  }
  if (Watering_StopHeld())
  {
    return;
  }

  /* Commit the slot before enabling pump power. */
  if ((!fram_schedule_loaded && !Fram_LoadScheduleHistory()) ||
      (date > *last_started_date && !Fram_SaveScheduleDate(address, date)))
  {
    Watering_Stop(WATERING_FRAM_FAULT);
    return;
  }

  if (date > *last_started_date)
  {
    *last_started_date = date;
    Watering_StartPower(WATERING_AUTO_STARTING);
  }
}
static void Watering_CheckDaytimeSensors(uint32_t now)
{
  if (daytime_cooldown_active &&
      (now - last_watering_stop_ms) >= DAYTIME_WATERING_COOLDOWN_MS)
  {
    daytime_cooldown_active = 0U;
  }

  if (watering_request != WATERING_AUTO_ARMED || daytime_cooldown_active ||
      !rtc_time_valid || !soil_valid || soil_moisture_tenths >= SOIL_TARGET_TENTHS ||
      (soil_dry_samples < SOIL_DAYTIME_DRY_SAMPLES && !temperature_hot &&
       air_rh_low_samples < CLIMATE_TRIGGER_SAMPLES))
  {
    return;
  }

  const uint16_t minute_of_day = (uint16_t)rtc_hours * 60U + rtc_minutes;
  const uint16_t morning = AUTO_MORNING_HOUR * 60U + AUTO_MORNING_MINUTE;
  const uint16_t evening = AUTO_EVENING_HOUR * 60U + AUTO_EVENING_MINUTE;
  if (minute_of_day > morning && minute_of_day < evening)
  {
    Watering_StartPower(WATERING_AUTO_STARTING);
  }
}
/* USER CODE END 0 */

int main(void)
{

  /* MCU Configuration--------------------------------------------------------*/

  /* Reset of all peripherals, Initializes the Flash interface and the Systick. */
  HAL_Init();

  /* Configure the system clock */
  SystemClock_Config();

  /* Initialize all configured peripherals */
  MX_GPIO_Init();
  MX_I2C1_Init();
  MX_I2C2_Init();
  MX_ADC1_Init();
  MX_USART2_UART_Init();
  /* USER CODE BEGIN 2 */
  rtc_probe_status = HAL_I2C_IsDeviceReady(&hi2c1, 0x68U << 1, 2, 50);
  fram_probe_status = HAL_I2C_IsDeviceReady(&hi2c1, 0x50U << 1, 2, 50);
  if (fram_probe_status == HAL_OK)
  {
    Fram_ReadBootData();
    Fram_LoadScheduleHistory();
  }
  Buttons_Init();
  lcd_status = Lcd_Init();
  lcd_last_init_ms = HAL_GetTick();
  lcd_page_changed_ms = lcd_last_init_ms;
  Lcd_ShowWateringRequest();
  /* USER CODE END 2 */

  /* Infinite loop */
  while (1)
  {

    /* USER CODE BEGIN 3 */
    const uint32_t now = HAL_GetTick();
    const uint8_t pressed = Buttons_Poll(now);
    if (pressed != 0U)
    {
      last_button_press = pressed;
    }

    Soil_Update(now);
    if (!Watering_IsManual())
    {
      Climate_Update(now);
    }
    Watering_Service(pressed, now);
    Rtc_ServiceSetRequest();

    /* Keep polling the hold and stop inputs while the power stage is enabled. */
    if (!Watering_IsActive() && (now - rtc_last_poll_ms) >= 1000U)
    {
      rtc_last_poll_ms = now;
      Rtc_ReadTime();
      Lcd_ServiceDashboard(HAL_GetTick());
      Watering_CheckSchedule();
      Watering_CheckDaytimeSensors(HAL_GetTick());
    }
  }
  /* USER CODE END 3 */
}

void SystemClock_Config(void)
{
  RCC_OscInitTypeDef RCC_OscInitStruct = {0};
  RCC_ClkInitTypeDef RCC_ClkInitStruct = {0};

  /** Configure the main internal regulator output voltage
  */
  __HAL_RCC_PWR_CLK_ENABLE();
  __HAL_PWR_VOLTAGESCALING_CONFIG(PWR_REGULATOR_VOLTAGE_SCALE3);

  /** Initializes the RCC Oscillators according to the specified parameters
  * in the RCC_OscInitTypeDef structure.
  */
  RCC_OscInitStruct.OscillatorType = RCC_OSCILLATORTYPE_HSI;
  RCC_OscInitStruct.HSIState = RCC_HSI_ON;
  RCC_OscInitStruct.HSICalibrationValue = RCC_HSICALIBRATION_DEFAULT;
  RCC_OscInitStruct.PLL.PLLState = RCC_PLL_NONE;
  if (HAL_RCC_OscConfig(&RCC_OscInitStruct) != HAL_OK)
  {
    Error_Handler();
  }

  /** Initializes the CPU, AHB and APB buses clocks
  */
  RCC_ClkInitStruct.ClockType = RCC_CLOCKTYPE_HCLK|RCC_CLOCKTYPE_SYSCLK
                              |RCC_CLOCKTYPE_PCLK1|RCC_CLOCKTYPE_PCLK2;
  RCC_ClkInitStruct.SYSCLKSource = RCC_SYSCLKSOURCE_HSI;
  RCC_ClkInitStruct.AHBCLKDivider = RCC_SYSCLK_DIV1;
  RCC_ClkInitStruct.APB1CLKDivider = RCC_HCLK_DIV1;
  RCC_ClkInitStruct.APB2CLKDivider = RCC_HCLK_DIV1;

  if (HAL_RCC_ClockConfig(&RCC_ClkInitStruct, FLASH_LATENCY_0) != HAL_OK)
  {
    Error_Handler();
  }
}

static void MX_ADC1_Init(void)
{

  ADC_ChannelConfTypeDef sConfig = {0};

  /** Configure the global features of the ADC (Clock, Resolution, Data Alignment and number of conversion)
  */
  hadc1.Instance = ADC1;
  hadc1.Init.ClockPrescaler = ADC_CLOCK_SYNC_PCLK_DIV2;
  hadc1.Init.Resolution = ADC_RESOLUTION_12B;
  hadc1.Init.ScanConvMode = DISABLE;
  hadc1.Init.ContinuousConvMode = DISABLE;
  hadc1.Init.DiscontinuousConvMode = DISABLE;
  hadc1.Init.ExternalTrigConvEdge = ADC_EXTERNALTRIGCONVEDGE_NONE;
  hadc1.Init.ExternalTrigConv = ADC_SOFTWARE_START;
  hadc1.Init.DataAlign = ADC_DATAALIGN_RIGHT;
  hadc1.Init.NbrOfConversion = 1;
  hadc1.Init.DMAContinuousRequests = DISABLE;
  hadc1.Init.EOCSelection = ADC_EOC_SINGLE_CONV;
  if (HAL_ADC_Init(&hadc1) != HAL_OK)
  {
    Error_Handler();
  }

  /** Configure for the selected ADC regular channel its corresponding rank in the sequencer and its sample time.
  */
  sConfig.Channel = ADC_CHANNEL_0;
  sConfig.Rank = 1;
  sConfig.SamplingTime = ADC_SAMPLETIME_480CYCLES;
  if (HAL_ADC_ConfigChannel(&hadc1, &sConfig) != HAL_OK)
  {
    Error_Handler();
  }

}

static void MX_I2C1_Init(void)
{

  hi2c1.Instance = I2C1;
  hi2c1.Init.ClockSpeed = 100000;
  hi2c1.Init.DutyCycle = I2C_DUTYCYCLE_2;
  hi2c1.Init.OwnAddress1 = 0;
  hi2c1.Init.AddressingMode = I2C_ADDRESSINGMODE_7BIT;
  hi2c1.Init.DualAddressMode = I2C_DUALADDRESS_DISABLE;
  hi2c1.Init.OwnAddress2 = 0;
  hi2c1.Init.GeneralCallMode = I2C_GENERALCALL_DISABLE;
  hi2c1.Init.NoStretchMode = I2C_NOSTRETCH_DISABLE;
  if (HAL_I2C_Init(&hi2c1) != HAL_OK)
  {
    Error_Handler();
  }

  /** Configure Analogue filter
  */
  if (HAL_I2CEx_ConfigAnalogFilter(&hi2c1, I2C_ANALOGFILTER_ENABLE) != HAL_OK)
  {
    Error_Handler();
  }

  /** Configure Digital filter
  */
  if (HAL_I2CEx_ConfigDigitalFilter(&hi2c1, 0) != HAL_OK)
  {
    Error_Handler();
  }

}

static void MX_I2C2_Init(void)
{

  hi2c2.Instance = I2C2;
  hi2c2.Init.ClockSpeed = 100000;
  hi2c2.Init.DutyCycle = I2C_DUTYCYCLE_2;
  hi2c2.Init.OwnAddress1 = 0;
  hi2c2.Init.AddressingMode = I2C_ADDRESSINGMODE_7BIT;
  hi2c2.Init.DualAddressMode = I2C_DUALADDRESS_DISABLE;
  hi2c2.Init.OwnAddress2 = 0;
  hi2c2.Init.GeneralCallMode = I2C_GENERALCALL_DISABLE;
  hi2c2.Init.NoStretchMode = I2C_NOSTRETCH_DISABLE;
  if (HAL_I2C_Init(&hi2c2) != HAL_OK)
  {
    Error_Handler();
  }

  /** Configure Analogue filter
  */
  if (HAL_I2CEx_ConfigAnalogFilter(&hi2c2, I2C_ANALOGFILTER_ENABLE) != HAL_OK)
  {
    Error_Handler();
  }

  /** Configure Digital filter
  */
  if (HAL_I2CEx_ConfigDigitalFilter(&hi2c2, 0) != HAL_OK)
  {
    Error_Handler();
  }

}

static void MX_USART2_UART_Init(void)
{

  huart2.Instance = USART2;
  huart2.Init.BaudRate = 9600;
  huart2.Init.WordLength = UART_WORDLENGTH_8B;
  huart2.Init.StopBits = UART_STOPBITS_1;
  huart2.Init.Parity = UART_PARITY_NONE;
  huart2.Init.Mode = UART_MODE_TX_RX;
  huart2.Init.HwFlowCtl = UART_HWCONTROL_NONE;
  huart2.Init.OverSampling = UART_OVERSAMPLING_16;
  if (HAL_UART_Init(&huart2) != HAL_OK)
  {
    Error_Handler();
  }

}

static void MX_GPIO_Init(void)
{
  GPIO_InitTypeDef GPIO_InitStruct = {0};

  /* GPIO Ports Clock Enable */
  __HAL_RCC_GPIOE_CLK_ENABLE();
  __HAL_RCC_GPIOF_CLK_ENABLE();
  __HAL_RCC_GPIOA_CLK_ENABLE();
  __HAL_RCC_GPIOG_CLK_ENABLE();
  __HAL_RCC_GPIOB_CLK_ENABLE();
  __HAL_RCC_GPIOD_CLK_ENABLE();

  /*Configure GPIO pin Output Level */
  HAL_GPIO_WritePin(FRAM_WP_GPIO_Port, FRAM_WP_Pin, GPIO_PIN_SET);
  HAL_GPIO_WritePin(GPIOE, WD_ENABLE_Pin|WD_KICK_Pin|MCU_ARM_Pin, GPIO_PIN_RESET);

  /*Configure GPIO pin Output Level */
  HAL_GPIO_WritePin(GPIOF, PUMP1_CMD_Pin|PUMP2_CMD_Pin|PUMP3_CMD_Pin|PUMP4_CMD_Pin
                          |AUX1_CMD_Pin|AUX2_CMD_Pin|AUX3_CMD_Pin, GPIO_PIN_RESET);

  /*Configure GPIO pin Output Level */
  HAL_GPIO_WritePin(RS485_5_DIR_GPIO_Port, RS485_5_DIR_Pin, GPIO_PIN_RESET);

  /*Configure GPIO pins : FRAM_WP_Pin WD_ENABLE_Pin WD_KICK_Pin MCU_ARM_Pin */
  GPIO_InitStruct.Pin = FRAM_WP_Pin|WD_ENABLE_Pin|WD_KICK_Pin|MCU_ARM_Pin;
  GPIO_InitStruct.Mode = GPIO_MODE_OUTPUT_PP;
  GPIO_InitStruct.Pull = GPIO_NOPULL;
  GPIO_InitStruct.Speed = GPIO_SPEED_FREQ_LOW;
  HAL_GPIO_Init(GPIOE, &GPIO_InitStruct);

  /*Configure GPIO pins : PUMP1_CMD_Pin PUMP2_CMD_Pin PUMP3_CMD_Pin PUMP4_CMD_Pin
                           AUX1_CMD_Pin AUX2_CMD_Pin AUX3_CMD_Pin */
  GPIO_InitStruct.Pin = PUMP1_CMD_Pin|PUMP2_CMD_Pin|PUMP3_CMD_Pin|PUMP4_CMD_Pin
                          |AUX1_CMD_Pin|AUX2_CMD_Pin|AUX3_CMD_Pin;
  GPIO_InitStruct.Mode = GPIO_MODE_OUTPUT_PP;
  GPIO_InitStruct.Pull = GPIO_NOPULL;
  GPIO_InitStruct.Speed = GPIO_SPEED_FREQ_LOW;
  HAL_GPIO_Init(GPIOF, &GPIO_InitStruct);

  /*Configure GPIO pins : BTN_UP_Pin BTN_DOWN_Pin */
  GPIO_InitStruct.Pin = BTN_UP_Pin|BTN_DOWN_Pin;
  GPIO_InitStruct.Mode = GPIO_MODE_INPUT;
  GPIO_InitStruct.Pull = GPIO_NOPULL;
  HAL_GPIO_Init(GPIOF, &GPIO_InitStruct);

  /*Configure GPIO pin : BTN_OK_Pin */
  GPIO_InitStruct.Pin = BTN_OK_Pin;
  GPIO_InitStruct.Mode = GPIO_MODE_INPUT;
  GPIO_InitStruct.Pull = GPIO_NOPULL;
  HAL_GPIO_Init(BTN_OK_GPIO_Port, &GPIO_InitStruct);

  /*Configure GPIO pins : PWR_FAULT_N_Pin PWR_GOOD_Pin */
  GPIO_InitStruct.Pin = PWR_FAULT_N_Pin|PWR_GOOD_Pin;
  GPIO_InitStruct.Mode = GPIO_MODE_INPUT;
  GPIO_InitStruct.Pull = GPIO_NOPULL;
  HAL_GPIO_Init(GPIOE, &GPIO_InitStruct);

  /*Configure GPIO pin : SENS3_IN_Pin */
  GPIO_InitStruct.Pin = SENS3_IN_Pin;
  GPIO_InitStruct.Mode = GPIO_MODE_INPUT;
  GPIO_InitStruct.Pull = GPIO_NOPULL;
  HAL_GPIO_Init(SENS3_IN_GPIO_Port, &GPIO_InitStruct);

  /*Configure GPIO pin : RS485_5_DIR_Pin */
  GPIO_InitStruct.Pin = RS485_5_DIR_Pin;
  GPIO_InitStruct.Mode = GPIO_MODE_OUTPUT_PP;
  GPIO_InitStruct.Pull = GPIO_NOPULL;
  GPIO_InitStruct.Speed = GPIO_SPEED_FREQ_LOW;
  HAL_GPIO_Init(RS485_5_DIR_GPIO_Port, &GPIO_InitStruct);

}

void Error_Handler(void)
{
  /* USER CODE BEGIN Error_Handler_Debug */
  __disable_irq();
  if ((RCC->AHB1ENR & RCC_AHB1ENR_GPIOEEN) != 0U)
  {
    HAL_GPIO_WritePin(MCU_ARM_GPIO_Port, MCU_ARM_Pin, GPIO_PIN_RESET);
    HAL_GPIO_WritePin(FRAM_WP_GPIO_Port, FRAM_WP_Pin, GPIO_PIN_SET);
  }
  if ((RCC->AHB1ENR & RCC_AHB1ENR_GPIOFEN) != 0U)
  {
    HAL_GPIO_WritePin(GPIOF, PUMP_COMMAND_PINS | AUX_COMMAND_PINS, GPIO_PIN_RESET);
  }
  while (1)
  {
  }
  /* USER CODE END Error_Handler_Debug */
}
